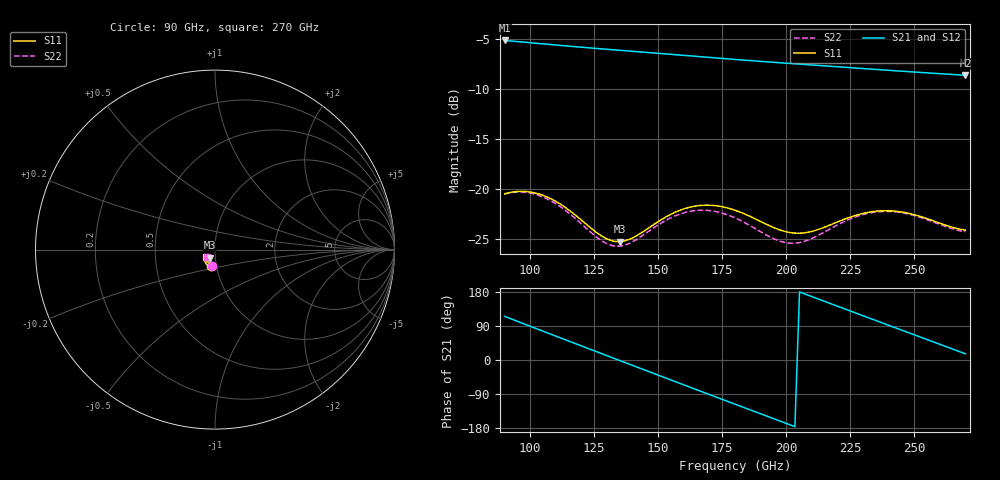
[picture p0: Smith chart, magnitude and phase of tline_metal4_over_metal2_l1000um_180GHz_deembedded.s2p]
! Created with skrf 2.2.0 (http://scikit-rf.org).
# GHz S DB R 50.0
! Port[1] = P1
! Port[2] = P2
!freq dBS11 angS11 dBS21 angS21 dBS12 angS12 dBS22 angS22
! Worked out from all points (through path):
!   101 points, 90 GHz to 270 GHz, reference 50 ohm
!   highest |S21| = -5.19 dB at 90 GHz (marker M1); lowest = -8.7 dB at 270 GHz (marker M2)
!   group delay of S21, straight-line fit = 7.07 ps
!   lowest |S11| = -25.3 dB at 135 GHz (marker M3), VSWR 1.11, Z = 46.9 - j4.26 ohm
!   |S11| at or under -10 dB: start of sweep to end of sweep
!   |S22| runs from -25.8 to -20.3 dB; largest |S21 - S12| = 7.5e-13
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90  -20.52 -103.0  -5.19 115.2  -5.19 115.2  -20.54 -101.3
97.2  -20.27 -112.9  -5.35 96.3  -5.35 96.3  -20.35 -111.6
104.4  -20.62 -122.7  -5.51 77.6  -5.51 77.6  -20.78 -121.8
111.6  -21.52 -130.8  -5.68 58.9  -5.68 58.9  -21.77 -130.2
120.6  -23.28 -135.7  -5.88 35.6  -5.88 35.6  -23.66 -134.9
127.8  -24.72 -132.5  -6.03 17.1  -6.03 17.1  -25.19 -131.2
135  -25.30 -123.6  -6.17 -1.4  -6.17 -1.4  -25.75 -121.6
142.2  -24.61 -115.9  -6.32 -20.0  -6.32 -20.0  -24.97 -113.8
151.2  -23.10 -114.7  -6.50 -43.1  -6.50 -43.1  -23.43 -113.3
158.4  -22.17 -119.0  -6.64 -61.5  -6.64 -61.5  -22.55 -118.1
165.6  -21.70 -125.4  -6.79 -79.9  -6.79 -79.9  -22.17 -124.8
172.8  -21.71 -132.1  -6.94 -98.3  -6.94 -98.3  -22.31 -131.7
180  -22.16 -137.8  -7.08 -116.6  -7.08 -116.6  -22.92 -137.3
189  -23.16 -141.5  -7.26 -139.4  -7.26 -139.4  -24.16 -139.9
196.2  -24.00 -140.3  -7.39 -157.7  -7.39 -157.7  -25.12 -136.7
203.4  -24.45 -135.7  -7.52 -175.9  -7.52 -175.9  -25.45 -129.8
210.6  -24.23 -130.8  -7.65 165.9  -7.65 165.9  -24.91 -123.5
217.8  -23.56 -128.5  -7.78 147.7  -7.78 147.7  -23.93 -121.5
226.8  -22.70 -130.2  -7.94 124.9  -7.94 124.9  -22.85 -124.4
241.2  -22.22 -138.4  -8.19 88.6  -8.19 88.6  -22.29 -134.3
253.8  -22.90 -144.3  -8.41 57.0  -8.41 57.0  -22.99 -141.2
270  -24.15 -141.1  -8.67 16.3  -8.67 16.3  -24.31 -138.6
